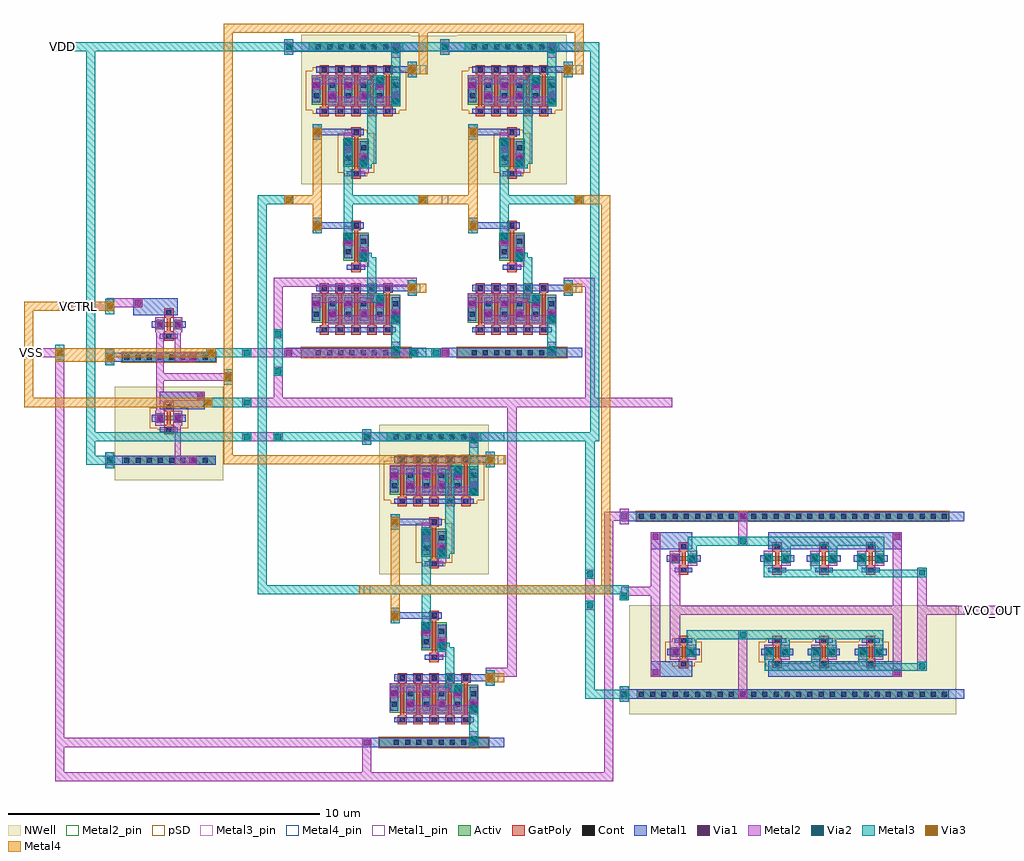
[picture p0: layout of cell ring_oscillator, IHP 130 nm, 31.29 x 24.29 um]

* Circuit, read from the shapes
.subckt ring_oscillator VCO_OUT VCTRL VDD VSS
XM1 VSS VCTRL inverter_1/VBP VSS sg13_lv_nmos w=0.15u l=0.13u
XM2 VSS VCTRL inverter_1/dev_n_w0p9_l0p13_ng5_noguard_m1_3/D0 VSS sg13_lv_nmos w=0.9u l=0.13u m=5
XM3 inverter_1/dev_n_w0p9_l0p13_ng5_noguard_m1_3/D0 inverter_1/VIN inverter_2/VIN VSS sg13_lv_nmos w=0.9u l=0.13u
XM4 VSS VCTRL inverter_3/dev_n_w0p9_l0p13_ng5_noguard_m1_3/D0 VSS sg13_lv_nmos w=0.9u l=0.13u m=5
XM5 inverter_3/dev_n_w0p9_l0p13_ng5_noguard_m1_3/D0 inverter_3/VIN inverter_1/VIN VSS sg13_lv_nmos w=0.9u l=0.13u
XM6 VSS VCTRL inverter_2/dev_n_w0p9_l0p13_ng5_noguard_m1_3/D0 VSS sg13_lv_nmos w=0.9u l=0.13u m=5
XM7 inverter_2/dev_n_w0p9_l0p13_ng5_noguard_m1_3/D0 inverter_2/VIN inverter_3/VIN VSS sg13_lv_nmos w=0.9u l=0.13u
XM8 VSS inverter_1/VIN vco_buffer_4/dev_n_w0p15_l0p13_ng1_noguard_sdvia_4/D VSS sg13_lv_nmos w=0.15u l=0.13u
XM9 VSS vco_buffer_4/dev_n_w0p15_l0p13_ng1_noguard_sdvia_4/D VCO_OUT VSS sg13_lv_nmos w=0.15u l=0.13u m=3
XM10 VDD inverter_1/VBP inverter_1/VBP VDD sg13_lv_pmos w=0.15u l=0.13u
XM11 VDD inverter_1/VBP inverter_1/dev_p_w0p9_l0p13_ng5_noguard_m1_0/D0 VDD sg13_lv_pmos w=0.9u l=0.13u m=5
XM12 inverter_1/dev_p_w0p9_l0p13_ng5_noguard_m1_0/D0 inverter_1/VIN inverter_2/VIN VDD sg13_lv_pmos w=0.9u l=0.13u
XM13 VDD inverter_1/VBP inverter_3/dev_p_w0p9_l0p13_ng5_noguard_m1_0/D0 VDD sg13_lv_pmos w=0.9u l=0.13u m=5
XM14 inverter_3/dev_p_w0p9_l0p13_ng5_noguard_m1_0/D0 inverter_3/VIN inverter_1/VIN VDD sg13_lv_pmos w=0.9u l=0.13u
XM15 VDD inverter_1/VBP inverter_2/dev_p_w0p9_l0p13_ng5_noguard_m1_0/D0 VDD sg13_lv_pmos w=0.9u l=0.13u m=5
XM16 inverter_2/dev_p_w0p9_l0p13_ng5_noguard_m1_0/D0 inverter_2/VIN inverter_3/VIN VDD sg13_lv_pmos w=0.9u l=0.13u
XM17 VDD inverter_1/VIN vco_buffer_4/dev_n_w0p15_l0p13_ng1_noguard_sdvia_4/D VDD sg13_lv_pmos w=0.3u l=0.13u
XM18 VDD vco_buffer_4/dev_n_w0p15_l0p13_ng1_noguard_sdvia_4/D VCO_OUT VDD sg13_lv_pmos w=0.3u l=0.13u m=3
.ends

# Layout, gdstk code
import gdstk
lib = gdstk.Library(unit=1e-6, precision=1e-09)
def R(c, l, rs):  # rectangles x0, y0, x1, y1
    for r in rs: c.add(gdstk.rectangle(r[:2], r[2:], *l))
def A(c, l, x, y, w, h, nx, ny, dx, dy):  # array of equal rectangles
    R(c, l, [(x+i*dx, y+j*dy, x+i*dx+w, y+j*dy+h) for i in range(nx) for j in range(ny)])
Activ = (1, 0)
GatPoly = (5, 0)
Cont = (6, 0)
Metal1 = (8, 0)
Metal1_pin = (8, 2)
Metal2 = (10, 0)
Metal2_pin = (10, 2)
pSD = (14, 0)
Via1 = (19, 0)
Via2 = (29, 0)
Metal3 = (30, 0)
Metal3_pin = (30, 2)
NWell = (31, 0)
Via3 = (49, 0)
Metal4 = (50, 0)
Metal4_pin = (50, 2)

dev_p_w0p15_l0p13_ng1_no = lib.new_cell('dev_p_w0p15_l0p13_ng1_noguard_sdvia')
R(dev_p_w0p15_l0p13_ng1_no, Activ, [(-0.435,-0.15,-0.135,-0.075), (0.135,-0.15,0.435,-0.075), (-0.435,-0.075,0.435,0.075), (-0.435,0.075,-0.135,0.15), (0.135,0.075,0.435,0.15)])
R(dev_p_w0p15_l0p13_ng1_no, GatPoly, [(-0.15,-0.52,0.15,-0.22), (-0.065,-0.22,0.065,0.22), (-0.15,0.22,0.15,0.52)])
R(dev_p_w0p15_l0p13_ng1_no, Cont, [(-0.08,-0.45,0.08,-0.29), (-0.365,-0.08,-0.205,0.08), (0.205,-0.08,0.365,0.08), (-0.08,0.29,0.08,0.45)])
R(dev_p_w0p15_l0p13_ng1_no, Metal1, [(-0.285,-0.45,0.285,-0.29), (-0.545,-0.11,-0.135,0.11), (0.135,-0.11,0.545,0.11), (-0.285,0.29,0.285,0.45)])
R(dev_p_w0p15_l0p13_ng1_no, Metal2, [(-0.435,-0.24,-0.135,0.24), (0.135,-0.24,0.435,0.24)])
R(dev_p_w0p15_l0p13_ng1_no, pSD, [(-0.365,-0.375,0.365,-0.33), (-0.615,-0.33,0.615,0.33), (-0.365,0.33,0.365,0.375)])
R(dev_p_w0p15_l0p13_ng1_no, Via1, [(-0.38,-0.095,-0.19,0.095), (0.19,-0.095,0.38,0.095)])
R(dev_p_w0p15_l0p13_ng1_no, NWell, [(-0.745,-0.46,0.745,0.46)])
dev_p_w0p15_l0p13_ng1_no.add(gdstk.Label('D', (-0.285,0), layer=8, texttype=25))
dev_p_w0p15_l0p13_ng1_no.add(gdstk.Label('S', (0.285,0), layer=8, texttype=25))
dev_p_w0p15_l0p13_ng1_no.add(gdstk.Label('G', (0,0.37), layer=8, texttype=25))

dev_n_w0p15_l0p13_ng1_no = lib.new_cell('dev_n_w0p15_l0p13_ng1_noguard_sdvia')
R(dev_n_w0p15_l0p13_ng1_no, Activ, [(-0.435,-0.15,-0.135,-0.075), (0.135,-0.15,0.435,-0.075), (-0.435,-0.075,0.435,0.075), (-0.435,0.075,-0.135,0.15), (0.135,0.075,0.435,0.15)])
R(dev_n_w0p15_l0p13_ng1_no, GatPoly, [(-0.15,-0.52,0.15,-0.22), (-0.065,-0.22,0.065,0.22), (-0.15,0.22,0.15,0.52)])
R(dev_n_w0p15_l0p13_ng1_no, Cont, [(-0.08,-0.45,0.08,-0.29), (-0.365,-0.08,-0.205,0.08), (0.205,-0.08,0.365,0.08), (-0.08,0.29,0.08,0.45)])
R(dev_n_w0p15_l0p13_ng1_no, Metal1, [(-0.285,-0.45,0.285,-0.29), (-0.545,-0.11,-0.135,0.11), (0.135,-0.11,0.545,0.11), (-0.285,0.29,0.285,0.45)])
R(dev_n_w0p15_l0p13_ng1_no, Metal2, [(-0.435,-0.24,-0.135,0.24), (0.135,-0.24,0.435,0.24)])
R(dev_n_w0p15_l0p13_ng1_no, Via1, [(-0.38,-0.095,-0.19,0.095), (0.19,-0.095,0.38,0.095)])
dev_n_w0p15_l0p13_ng1_no.add(gdstk.Label('D', (-0.285,0), layer=8, texttype=25))
dev_n_w0p15_l0p13_ng1_no.add(gdstk.Label('S', (0.285,0), layer=8, texttype=25))
dev_n_w0p15_l0p13_ng1_no.add(gdstk.Label('G', (0,0.37), layer=8, texttype=25))

vco_bias = lib.new_cell('vco_bias')
R(vco_bias, Activ, [(0,0.5,3,0.8), (0,3.8,3,4.1)])
A(vco_bias, Cont, 0.07, 0.57, 0.16, 0.16, 8, 2, 0.36, 3.3)
R(vco_bias, Metal1, [(-0.5,0.5,3,0.8), (1.215,2.29,2.645,2.845), (-0.5,3.8,3,4.1), (0.355,5.29,1.785,5.845)])
R(vco_bias, Metal1_pin, [(-0.5,0.5,-0.3,0.8), (-0.5,3.8,-0.3,4.1)])
R(vco_bias, Metal2, [(1.685,0.505,2.395,0.795), (1.685,0.795,1.885,2.15), (1.1,1.85,1.34,2.555), (1.1,2.555,2.645,2.845), (1.1,2.845,1.34,3.2), (1.1,3.2,3.5,3.44), (1.1,3.44,1.34,5.15), (1.685,3.805,2.395,4.095), (1.685,4.095,1.885,5.15), (-0.5,5.555,0.645,5.845)])
R(vco_bias, Metal2_pin, [(3.3,3.2,3.5,3.44), (-0.5,5.58,-0.3,5.82)])
R(vco_bias, pSD, [(-0.03,3.77,3.03,4.13)])
R(vco_bias, Via1, [(2.155,0.555,2.345,0.745), (2.405,2.605,2.595,2.795), (2.155,3.855,2.345,4.045), (0.405,5.605,0.595,5.795)])
R(vco_bias, NWell, [(-0.24,0,3.24,3)])
vco_bias.add(gdstk.Reference(dev_p_w0p15_l0p13_ng1_no, (1.5,2)))
vco_bias.add(gdstk.Reference(dev_n_w0p15_l0p13_ng1_no, (1.5,5)))
vco_bias.add(gdstk.Label('VCTRL', (-0.4,5.7), layer=10, texttype=25))
vco_bias.add(gdstk.Label('VBP', (3.4,3.32), layer=10, texttype=25))
vco_bias.add(gdstk.Label('VDD', (-0.4,0.65), layer=8, texttype=25))
vco_bias.add(gdstk.Label('VSS', (-0.4,3.95), layer=8, texttype=25))

dev_p_w0p9_l0p13_ng5_nog = lib.new_cell('dev_p_w0p9_l0p13_ng5_noguard_m1')
R(dev_p_w0p9_l0p13_ng5_nog, Activ, [(-1.425,-0.45,1.425,0.45)])
A(dev_p_w0p9_l0p13_ng5_nog, GatPoly, -1.17, -0.82, 0.3, 0.3, 5, 2, 0.51, 1.34)
A(dev_p_w0p9_l0p13_ng5_nog, GatPoly, -1.085, -0.52, 0.13, 1.04, 5, 1, 0.51, 0)
A(dev_p_w0p9_l0p13_ng5_nog, Cont, -1.1, -0.75, 0.16, 0.16, 5, 2, 0.51, 1.34)
A(dev_p_w0p9_l0p13_ng5_nog, Cont, -1.355, -0.25, 0.16, 0.16, 6, 2, 0.51, 0.34)
A(dev_p_w0p9_l0p13_ng5_nog, Metal1, -1.405, -0.38, 0.26, 0.76, 6, 1, 0.51, 0)
R(dev_p_w0p9_l0p13_ng5_nog, Metal1, [(-1.275,-0.75,1.275,-0.59), (-1.275,0.59,1.275,0.75)])
R(dev_p_w0p9_l0p13_ng5_nog, pSD, [(-1.385,-0.75,1.385,-0.63), (-1.605,-0.63,1.605,0.63), (-1.385,0.63,1.385,0.75)])
R(dev_p_w0p9_l0p13_ng5_nog, NWell, [(-1.735,-0.76,1.735,0.76)])
dev_p_w0p9_l0p13_ng5_nog.add(gdstk.Label('D0', (-1.275,0), layer=8, texttype=25))
dev_p_w0p9_l0p13_ng5_nog.add(gdstk.Label('G', (1.02,0.67), layer=8, texttype=25))
dev_p_w0p9_l0p13_ng5_nog.add(gdstk.Label('G', (0.51,0.67), layer=8, texttype=25))
dev_p_w0p9_l0p13_ng5_nog.add(gdstk.Label('G', (0,0.67), layer=8, texttype=25))
dev_p_w0p9_l0p13_ng5_nog.add(gdstk.Label('G', (-0.51,0.67), layer=8, texttype=25))
dev_p_w0p9_l0p13_ng5_nog.add(gdstk.Label('G', (-1.02,0.67), layer=8, texttype=25))
dev_p_w0p9_l0p13_ng5_nog.add(gdstk.Label('S1', (-0.765,0), layer=8, texttype=25))
dev_p_w0p9_l0p13_ng5_nog.add(gdstk.Label('D2', (-0.255,0), layer=8, texttype=25))
dev_p_w0p9_l0p13_ng5_nog.add(gdstk.Label('S3', (0.255,0), layer=8, texttype=25))
dev_p_w0p9_l0p13_ng5_nog.add(gdstk.Label('D4', (0.765,0), layer=8, texttype=25))
dev_p_w0p9_l0p13_ng5_nog.add(gdstk.Label('S4', (1.275,0), layer=8, texttype=25))

dev_p_w0p9_l0p13_ng1_nog = lib.new_cell('dev_p_w0p9_l0p13_ng1_noguard_m1')
R(dev_p_w0p9_l0p13_ng1_nog, Activ, [(-0.405,-0.45,0.405,0.45)])
R(dev_p_w0p9_l0p13_ng1_nog, GatPoly, [(-0.15,-0.82,0.15,-0.52), (-0.065,-0.52,0.065,0.52), (-0.15,0.52,0.15,0.82)])
R(dev_p_w0p9_l0p13_ng1_nog, Cont, [(-0.08,-0.75,0.08,-0.59), (-0.335,-0.25,-0.175,-0.09), (0.175,-0.25,0.335,-0.09), (-0.335,0.09,-0.175,0.25), (0.175,0.09,0.335,0.25), (-0.08,0.59,0.08,0.75)])
R(dev_p_w0p9_l0p13_ng1_nog, Metal1, [(-0.255,-0.75,0.255,-0.59), (-0.385,-0.38,-0.125,0.38), (0.125,-0.38,0.385,0.38), (-0.255,0.59,0.255,0.75)])
R(dev_p_w0p9_l0p13_ng1_nog, pSD, [(-0.365,-0.75,0.365,-0.63), (-0.585,-0.63,0.585,0.63), (-0.365,0.63,0.365,0.75)])
R(dev_p_w0p9_l0p13_ng1_nog, NWell, [(-0.715,-0.76,0.715,0.76)])
dev_p_w0p9_l0p13_ng1_nog.add(gdstk.Label('D', (-0.255,0), layer=8, texttype=25))
dev_p_w0p9_l0p13_ng1_nog.add(gdstk.Label('S', (0.255,0), layer=8, texttype=25))
dev_p_w0p9_l0p13_ng1_nog.add(gdstk.Label('G', (0,0.67), layer=8, texttype=25))

dev_n_w0p9_l0p13_ng1_nog = lib.new_cell('dev_n_w0p9_l0p13_ng1_noguard_m1')
R(dev_n_w0p9_l0p13_ng1_nog, Activ, [(-0.405,-0.45,0.405,0.45)])
R(dev_n_w0p9_l0p13_ng1_nog, GatPoly, [(-0.15,-0.82,0.15,-0.52), (-0.065,-0.52,0.065,0.52), (-0.15,0.52,0.15,0.82)])
R(dev_n_w0p9_l0p13_ng1_nog, Cont, [(-0.08,-0.75,0.08,-0.59), (-0.335,-0.25,-0.175,-0.09), (0.175,-0.25,0.335,-0.09), (-0.335,0.09,-0.175,0.25), (0.175,0.09,0.335,0.25), (-0.08,0.59,0.08,0.75)])
R(dev_n_w0p9_l0p13_ng1_nog, Metal1, [(-0.255,-0.75,0.255,-0.59), (-0.385,-0.38,-0.125,0.38), (0.125,-0.38,0.385,0.38), (-0.255,0.59,0.255,0.75)])
dev_n_w0p9_l0p13_ng1_nog.add(gdstk.Label('D', (-0.255,0), layer=8, texttype=25))
dev_n_w0p9_l0p13_ng1_nog.add(gdstk.Label('S', (0.255,0), layer=8, texttype=25))
dev_n_w0p9_l0p13_ng1_nog.add(gdstk.Label('G', (0,0.67), layer=8, texttype=25))

dev_n_w0p9_l0p13_ng5_nog = lib.new_cell('dev_n_w0p9_l0p13_ng5_noguard_m1')
R(dev_n_w0p9_l0p13_ng5_nog, Activ, [(-1.425,-0.45,1.425,0.45)])
A(dev_n_w0p9_l0p13_ng5_nog, GatPoly, -1.17, -0.82, 0.3, 0.3, 5, 2, 0.51, 1.34)
A(dev_n_w0p9_l0p13_ng5_nog, GatPoly, -1.085, -0.52, 0.13, 1.04, 5, 1, 0.51, 0)
A(dev_n_w0p9_l0p13_ng5_nog, Cont, -1.1, -0.75, 0.16, 0.16, 5, 2, 0.51, 1.34)
A(dev_n_w0p9_l0p13_ng5_nog, Cont, -1.355, -0.25, 0.16, 0.16, 6, 2, 0.51, 0.34)
A(dev_n_w0p9_l0p13_ng5_nog, Metal1, -1.405, -0.38, 0.26, 0.76, 6, 1, 0.51, 0)
R(dev_n_w0p9_l0p13_ng5_nog, Metal1, [(-1.275,-0.75,1.275,-0.59), (-1.275,0.59,1.275,0.75)])
dev_n_w0p9_l0p13_ng5_nog.add(gdstk.Label('D0', (-1.275,0), layer=8, texttype=25))
dev_n_w0p9_l0p13_ng5_nog.add(gdstk.Label('G', (1.02,0.67), layer=8, texttype=25))
dev_n_w0p9_l0p13_ng5_nog.add(gdstk.Label('G', (0.51,0.67), layer=8, texttype=25))
dev_n_w0p9_l0p13_ng5_nog.add(gdstk.Label('G', (0,0.67), layer=8, texttype=25))
dev_n_w0p9_l0p13_ng5_nog.add(gdstk.Label('G', (-0.51,0.67), layer=8, texttype=25))
dev_n_w0p9_l0p13_ng5_nog.add(gdstk.Label('G', (-1.02,0.67), layer=8, texttype=25))
dev_n_w0p9_l0p13_ng5_nog.add(gdstk.Label('S1', (-0.765,0), layer=8, texttype=25))
dev_n_w0p9_l0p13_ng5_nog.add(gdstk.Label('D2', (-0.255,0), layer=8, texttype=25))
dev_n_w0p9_l0p13_ng5_nog.add(gdstk.Label('S3', (0.255,0), layer=8, texttype=25))
dev_n_w0p9_l0p13_ng5_nog.add(gdstk.Label('D4', (0.765,0), layer=8, texttype=25))
dev_n_w0p9_l0p13_ng5_nog.add(gdstk.Label('S4', (1.275,0), layer=8, texttype=25))

inverter = lib.new_cell('inverter')
R(inverter, Activ, [(-1.75,-3.55,1.75,-3.25), (-1.51,6.25,1.51,6.55)])
A(inverter, Cont, -1.29, -3.48, 0.16, 0.16, 8, 2, 0.36, 9.8)
A(inverter, Metal1, -0.865, -2.275, 0.2, 0.2, 3, 2, 1.02, 7)
A(inverter, Metal1, -1.375, -1.925, 0.2, 0.2, 3, 2, 1.02, 7)
R(inverter, Metal1, [(-2.25,-3.55,2.25,-3.25), (1.655,-1.475,1.945,-1.43), (-1.275,-1.43,1.945,-1.22), (1.655,-1.22,1.945,-1.185), (-0.3,-0.75,0.3,-0.59), (0.155,-0.275,0.355,-0.075), (-0.355,0.075,-0.155,0.275), (-1.395,0.525,-1.105,0.57), (-1.395,0.57,0.255,0.78), (-1.395,0.78,-1.105,0.815), (-0.3,2.25,0.3,2.41), (0.155,2.725,0.355,2.925), (-0.355,3.075,-0.155,3.275), (-1.395,3.525,-1.105,3.57), (-1.395,3.57,0.255,3.78), (-1.395,3.78,-1.105,3.815), (1.655,5.525,1.945,5.57), (-1.275,5.57,1.945,5.78), (1.655,5.78,1.945,5.815), (-2.25,6.25,2.25,6.55)])
R(inverter, Metal1_pin, [(-2.25,-3.55,-2.05,-3.25), (-2.25,6.25,-2.05,6.55)])
A(inverter, Metal2, -0.91, -2.205, 0.29, 0.175, 3, 2, 1.02, 7)
A(inverter, Metal2, -1.42, -1.97, 0.29, 0.175, 3, 2, 1.02, 7)
R(inverter, Metal2, [(1.13,-3.545,1.42,-3.045), (-0.91,-2.495,1.42,-2.205), (-1.42,-1.795,0.91,-1.505), (1.655,-1.58,1.945,-1.08), (0.11,-0.65,0.4,-0.03), (-0.4,0.03,-0.11,0.65), (-1.395,0.42,-1.105,0.92), (0.11,2.35,0.4,2.97), (-0.4,3.03,-0.11,3.65), (-1.395,3.42,-1.105,3.92), (-0.91,4.505,1.42,4.795), (-1.42,5.205,0.91,5.495), (1.655,5.42,1.945,5.92), (1.13,6.045,1.42,6.545)])
R(inverter, pSD, [(-1.78,-3.58,1.78,-3.22)])
A(inverter, Via1, -0.86, -2.27, 0.19, 0.19, 3, 2, 1.02, 7)
A(inverter, Via1, -1.37, -1.92, 0.19, 0.19, 3, 2, 1.02, 7)
R(inverter, Via1, [(1.18,-3.495,1.37,-3.305), (1.705,-1.425,1.895,-1.235), (0.16,-0.27,0.35,-0.08), (-0.35,0.08,-0.16,0.27), (-1.345,0.575,-1.155,0.765), (0.16,2.73,0.35,2.92), (-0.35,3.08,-0.16,3.27), (-1.345,3.575,-1.155,3.765), (1.705,5.575,1.895,5.765), (1.18,6.305,1.37,6.495)])
R(inverter, Via2, [(1.18,-3.39,1.37,-3.2), (1.18,-2.445,1.37,-2.255), (0.67,-1.745,0.86,-1.555), (1.705,-1.425,1.895,-1.235), (0.16,-0.445,0.35,-0.255), (-0.35,0.255,-0.16,0.445), (-1.345,0.575,-1.155,0.765), (0.16,2.555,0.35,2.745), (-0.35,3.255,-0.16,3.445), (-1.345,3.575,-1.155,3.765), (1.18,4.555,1.37,4.745), (0.67,5.255,0.86,5.445), (1.705,5.575,1.895,5.765), (1.18,6.2,1.37,6.39)])
R(inverter, Metal3, [(1.13,-3.545,1.42,-2.205), (0.5,-1.795,0.91,-1.65), (0.355,-1.65,0.91,-1.505), (1.655,-1.58,1.945,-1.08), (0.355,-1.505,0.645,-0.495), (0.11,-0.495,0.645,-0.35), (0.11,-0.35,0.5,-0.205), (-0.4,0.205,-0.11,1.355), (-1.395,0.42,-1.105,0.92), (-0.4,1.355,2.25,1.645), (-0.4,1.645,-0.11,3.495), (0.11,2.505,0.5,2.65), (0.11,2.65,0.645,2.795), (0.355,2.795,0.645,5.205), (-1.395,3.42,-1.105,3.92), (1.13,4.505,1.42,6.545), (0.355,5.205,0.91,5.35), (0.5,5.35,0.91,5.495), (1.655,5.42,1.945,5.92)])
R(inverter, Metal3_pin, [(2.05,1.355,2.25,1.645)])
R(inverter, NWell, [(-1.75,2,1.75,6.79)])
R(inverter, Via3, [(1.705,-1.425,1.895,-1.235), (-1.345,0.575,-1.155,0.765), (-1.345,3.575,-1.155,3.765), (1.705,5.575,1.895,5.765)])
R(inverter, Metal4, [(1.655,-1.475,2.25,-1.185), (-1.395,0.525,-1.105,1.355), (-2.25,1.355,-1.105,1.645), (-1.395,1.645,-1.105,3.815), (1.655,5.525,2.25,5.815)])
R(inverter, Metal4_pin, [(2.05,-1.475,2.25,-1.185), (-2.25,1.355,-2.05,1.645), (2.05,5.525,2.25,5.815)])
inverter.add(gdstk.Reference(dev_p_w0p9_l0p13_ng5_nog, (0,5)))
inverter.add(gdstk.Reference(dev_p_w0p9_l0p13_ng1_nog, (0,3)))
inverter.add(gdstk.Reference(dev_n_w0p9_l0p13_ng1_nog, (0,0)))
inverter.add(gdstk.Reference(dev_n_w0p9_l0p13_ng5_nog, (0,-2)))
inverter.add(gdstk.Label('VIN', (-2.15,1.5), layer=50, texttype=25))
inverter.add(gdstk.Label('VOUT', (2.15,1.5), layer=30, texttype=25))
inverter.add(gdstk.Label('VBP', (2.15,5.67), layer=50, texttype=25))
inverter.add(gdstk.Label('VDD', (-2.15,6.4), layer=8, texttype=25))
inverter.add(gdstk.Label('VBN', (2.15,-1.33), layer=50, texttype=25))
inverter.add(gdstk.Label('VSS', (-2.15,-3.4), layer=8, texttype=25))

dev_p_w0p3_l0p13_ng1_nog = lib.new_cell('dev_p_w0p3_l0p13_ng1_noguard_sdvia')
R(dev_p_w0p3_l0p13_ng1_nog, Activ, [(-0.405,-0.15,0.405,0.15)])
R(dev_p_w0p3_l0p13_ng1_nog, GatPoly, [(-0.15,-0.52,0.15,-0.22), (-0.065,-0.22,0.065,0.22), (-0.15,0.22,0.15,0.52)])
R(dev_p_w0p3_l0p13_ng1_nog, Cont, [(-0.08,-0.45,0.08,-0.29), (-0.335,-0.08,-0.175,0.08), (0.175,-0.08,0.335,0.08), (-0.08,0.29,0.08,0.45)])
R(dev_p_w0p3_l0p13_ng1_nog, Metal1, [(-0.255,-0.45,0.255,-0.29), (-0.515,-0.11,-0.105,0.11), (0.105,-0.11,0.515,0.11), (-0.255,0.29,0.255,0.45)])
R(dev_p_w0p3_l0p13_ng1_nog, Metal2, [(-0.405,-0.24,-0.105,0.24), (0.105,-0.24,0.405,0.24)])
R(dev_p_w0p3_l0p13_ng1_nog, pSD, [(-0.365,-0.45,0.365,-0.33), (-0.585,-0.33,0.585,0.33), (-0.365,0.33,0.365,0.45)])
R(dev_p_w0p3_l0p13_ng1_nog, Via1, [(-0.35,-0.095,-0.16,0.095), (0.16,-0.095,0.35,0.095)])
R(dev_p_w0p3_l0p13_ng1_nog, NWell, [(-0.715,-0.46,0.715,0.46)])
dev_p_w0p3_l0p13_ng1_nog.add(gdstk.Label('D', (-0.255,0), layer=8, texttype=25))
dev_p_w0p3_l0p13_ng1_nog.add(gdstk.Label('S', (0.255,0), layer=8, texttype=25))
dev_p_w0p3_l0p13_ng1_nog.add(gdstk.Label('G', (0,0.37), layer=8, texttype=25))

vco_buffer = lib.new_cell('vco_buffer')
R(vco_buffer, Activ, [(0,0.5,10,0.8), (0,6.2,10,6.5)])
A(vco_buffer, Cont, 0.07, 0.57, 0.16, 0.16, 27, 2, 0.36, 5.7)
R(vco_buffer, Cont, [(9.77,0.57,9.93,0.73), (9.77,6.27,9.93,6.43)])
A(vco_buffer, Metal1, 4.215, 2.29, 0.57, 0.16, 3, 1, 1.5, 0)
R(vco_buffer, Metal1, [(-0.5,0.5,10.5,0.8), (0.455,1.205,1.785,1.71), (4.215,1.205,8.495,1.71), (1.215,2.29,1.785,2.45), (0.455,5.29,1.785,5.845), (4.215,5.29,8.495,5.845), (-0.5,6.2,10.5,6.5)])
R(vco_buffer, Metal1_pin, [(-0.5,0.5,-0.3,0.8), (-0.5,6.2,-0.3,6.5)])
R(vco_buffer, Metal2, [(3.255,0.505,3.545,2.695), (0.455,1.205,0.745,3.8), (8.205,1.205,8.495,3.2), (9,1.405,9.29,3.2), (1.065,1.76,1.395,3.2), (1.655,1.9,1.855,2.1), (4.145,1.9,4.345,2.1), (4.655,1.9,4.855,2.1), (5.645,1.9,5.845,2.1), (6.155,1.9,6.355,2.1), (7.145,1.9,7.345,2.1), (7.655,1.9,7.855,2.1), (1.065,3.2,8.495,3.49), (9,3.2,10.5,3.49), (1.065,3.49,1.395,5.24), (8.205,3.49,8.495,5.845), (9,3.49,9.29,4.695), (-0.5,3.8,0.745,4.09), (0.455,4.09,0.745,5.845), (1.685,4.9,1.885,5.1), (4.115,4.9,4.315,5.1), (4.685,4.9,4.885,5.1), (5.615,4.9,5.815,5.1), (6.185,4.9,6.385,5.1), (7.115,4.9,7.315,5.1), (7.685,4.9,7.885,5.1), (3.255,5.405,3.545,6.495)])
R(vco_buffer, Metal2_pin, [(10.3,3.2,10.5,3.49), (-0.5,3.8,-0.3,4.09)])
R(vco_buffer, pSD, [(5.085,1.67,5.415,2.33), (6.585,1.67,6.915,2.33), (-0.03,6.17,10.03,6.53)])
R(vco_buffer, Via1, [(3.305,0.555,3.495,0.745), (0.505,1.255,0.695,1.445), (8.255,1.255,8.445,1.445), (0.505,5.605,0.695,5.795), (8.255,5.605,8.445,5.795), (3.305,6.255,3.495,6.445)])
R(vco_buffer, Via2, [(9.05,1.455,9.24,1.645), (1.66,1.905,1.85,2.095), (4.15,1.905,4.34,2.095), (4.66,1.905,4.85,2.095), (5.65,1.905,5.84,2.095), (6.16,1.905,6.35,2.095), (7.15,1.905,7.34,2.095), (7.66,1.905,7.85,2.095), (3.305,2.455,3.495,2.645), (9.05,4.455,9.24,4.645), (1.69,4.905,1.88,5.095), (4.12,4.905,4.31,5.095), (4.69,4.905,4.88,5.095), (5.62,4.905,5.81,5.095), (6.19,4.905,6.38,5.095), (7.12,4.905,7.31,5.095), (7.69,4.905,7.88,5.095), (3.305,5.455,3.495,5.645)])
A(vco_buffer, Metal3, 4.1, 1.645, 0.29, 0.5, 3, 1, 1.5, 0)
A(vco_buffer, Metal3, 4.61, 1.855, 0.29, 0.555, 3, 1, 1.5, 0)
A(vco_buffer, Metal3, 4.07, 4.645, 0.29, 0.5, 3, 1, 1.5, 0)
A(vco_buffer, Metal3, 4.64, 4.855, 0.29, 0.555, 3, 1, 1.5, 0)
R(vco_buffer, Metal3, [(4.1,1.4,9.29,1.645), (9,1.645,9.29,1.695), (1.61,1.855,1.9,2.41), (1.61,2.41,7.9,2.7), (4.07,4.4,9.29,4.645), (9,4.645,9.29,4.695), (1.64,4.855,1.93,5.41), (1.64,5.41,7.93,5.7)])
R(vco_buffer, NWell, [(-0.24,0,10.24,3.5)])
vco_buffer.add(gdstk.Reference(dev_p_w0p3_l0p13_ng1_nog, (1.5,2)))
vco_buffer.add(gdstk.Reference(dev_p_w0p3_l0p13_ng1_nog, (4.5,2)))
vco_buffer.add(gdstk.Reference(dev_p_w0p3_l0p13_ng1_nog, (6,2)))
vco_buffer.add(gdstk.Reference(dev_p_w0p3_l0p13_ng1_nog, (7.5,2)))
vco_buffer.add(gdstk.Reference(dev_n_w0p15_l0p13_ng1_no, (1.5,5)))
vco_buffer.add(gdstk.Reference(dev_n_w0p15_l0p13_ng1_no, (4.5,5)))
vco_buffer.add(gdstk.Reference(dev_n_w0p15_l0p13_ng1_no, (6,5)))
vco_buffer.add(gdstk.Reference(dev_n_w0p15_l0p13_ng1_no, (7.5,5)))
vco_buffer.add(gdstk.Label('VIN', (-0.4,3.945), layer=10, texttype=25))
vco_buffer.add(gdstk.Label('VOUT', (10.4,3.345), layer=10, texttype=25))
vco_buffer.add(gdstk.Label('VDD', (-0.4,0.65), layer=8, texttype=25))
vco_buffer.add(gdstk.Label('VSS', (-0.4,6.35), layer=8, texttype=25))

ring_oscillator = lib.new_cell('ring_oscillator')
R(ring_oscillator, Metal1, [(0.205,-8.545,0.495,-8.255), (8.455,-6.995,8.745,-6.705), (8.455,-1.295,8.745,-1.005), (-8.045,0.505,-7.755,0.795), (0.205,1.255,0.495,1.545), (-8.045,3.805,-7.755,4.095), (-2.295,3.955,-2.005,4.245), (2.705,3.955,2.995,4.245), (-2.295,13.755,-2.005,14.045), (2.705,13.755,2.995,14.045)])
R(ring_oscillator, Metal2, [(-9.645,-9.645,8.245,-9.355), (-9.645,-9.355,-9.355,-8.545), (0.205,-9.355,0.495,-8.545), (7.955,-9.355,8.245,-1.295), (-9.645,-8.545,0.495,-8.255), (-9.645,-8.255,-9.355,3.955), (8.455,-7.1,8.745,-6.6), (4.155,-6.295,5.145,-6.005), (4.855,-6.005,5.145,2.355), (19.355,-4.305,20.645,-4.015), (7.355,-4.145,7.645,-2.855), (8.455,-3.845,8.745,-3.555), (8.455,-1.4,8.745,-1.295), (7.955,-1.295,8.745,-1.005), (8.455,-1.005,8.745,-0.9), (-8.045,0.4,-7.755,0.9), (0.205,1.15,0.495,1.65), (-3.645,1.255,-2.355,1.545), (-3.645,2.355,10.145,2.645), (-2.645,2.645,-2.355,3.645), (7.355,2.645,7.645,6.205), (-4.245,3.175,-3.955,3.465), (-8.045,3.7,-7.755,4.2), (-10.645,3.955,-9.355,4.245), (-3.645,3.955,1.995,4.245), (2.405,3.955,2.995,4.245), (-2.645,4.555,-2.355,6.205), (-9.145,5.435,-7.755,5.725), (-2.645,6.205,1.945,6.495), (6.655,6.205,7.645,6.495), (-2.295,13.65,-2.005,14.15), (2.705,13.65,2.995,14.15)])
R(ring_oscillator, Metal2_pin, [(20.3,-4.305,20.5,-4.015), (-10.5,3.955,-10.3,4.245), (-9,5.435,-8.8,5.725)])
R(ring_oscillator, Via1, [(0.255,-8.495,0.445,-8.305), (8.505,-6.945,8.695,-6.755), (8.505,-1.245,8.695,-1.055), (-7.995,0.555,-7.805,0.745), (0.255,1.305,0.445,1.495), (-7.995,3.855,-7.805,4.045), (-2.245,4.005,-2.055,4.195), (2.755,4.005,2.945,4.195), (-2.245,13.805,-2.055,13.995), (2.755,13.805,2.945,13.995)])
R(ring_oscillator, Via2, [(8.505,-6.945,8.695,-6.755), (7.405,-4.095,7.595,-3.905), (8.505,-3.795,8.695,-3.605), (7.405,-3.095,7.595,-2.905), (-7.995,0.555,-7.805,0.745), (-3.595,1.305,-3.405,1.495), (-2.595,1.305,-2.405,1.495), (0.255,1.305,0.445,1.495), (-3.595,2.405,-3.405,2.595), (-4.195,3.225,-4.005,3.415), (-2.595,3.405,-2.405,3.595), (-7.995,3.855,-7.805,4.045), (-9.595,4.005,-9.405,4.195), (-3.595,4.005,-3.405,4.195), (1.755,4.005,1.945,4.195), (2.455,4.005,2.645,4.195), (-2.595,4.605,-2.405,4.795), (-7.995,5.485,-7.805,5.675), (-2.245,13.805,-2.055,13.995), (2.755,13.805,2.945,13.995)])
R(ring_oscillator, Metal3, [(8.455,-7.1,8.745,-6.995), (7.355,-6.995,8.745,-6.705), (7.355,-6.705,7.645,-3.855), (8.455,-6.705,8.745,-6.6), (8.455,-3.845,8.745,-3.645), (-3.145,-3.645,8.745,-3.355), (-3.145,-3.355,-2.855,8.855), (7.355,-3.145,7.645,1.255), (-8.045,0.4,-7.755,0.505), (-8.645,0.505,-7.755,0.795), (-8.645,0.795,-8.355,1.255), (-8.045,0.795,-7.755,0.9), (0.205,1.15,0.495,1.255), (-8.645,1.255,-3.355,1.545), (-2.645,1.255,7.795,1.545), (-8.645,1.545,-8.355,13.755), (0.205,1.545,0.495,1.65), (7.505,1.545,7.795,13.755), (-4.895,2.355,-3.355,2.645), (-4.245,3.07,-3.955,3.57), (-2.645,3.355,-2.355,4.845), (-8.045,3.7,-7.755,4.2), (-9.645,3.85,-9.355,4.35), (-4.795,3.955,-3.355,4.245), (1.705,3.955,2.695,4.245), (-8.045,5.33,-7.755,5.83), (-3.145,8.855,-2.005,9.145), (2.005,8.855,2.295,9.145), (7.005,8.855,7.295,9.145), (-2.295,13.65,-2.005,13.755), (2.705,13.65,2.995,13.755), (-9.645,13.755,7.795,14.045), (-2.295,14.045,-2.005,14.15), (2.705,14.045,2.995,14.15)])
R(ring_oscillator, Metal3_pin, [(-9.5,13.755,-9.3,14.045)])
R(ring_oscillator, NWell, [(1.75,9.5,3.25,14.25)])
R(ring_oscillator, Via3, [(-4.845,2.405,-4.655,2.595), (-4.195,3.225,-4.005,3.415), (-7.995,3.855,-7.805,4.045), (-9.595,4.005,-9.405,4.195), (-4.745,4.005,-4.555,4.195), (-7.995,5.485,-7.805,5.675), (-2.245,8.905,-2.055,9.095), (2.055,8.905,2.245,9.095), (7.055,8.905,7.245,9.095)])
R(ring_oscillator, Metal4, [(0.105,-3.645,8.145,-3.355), (7.855,-3.355,8.145,8.855), (-4.245,0.525,4.795,0.815), (-4.245,0.815,-3.955,14.355), (-10.645,2.355,-4.605,2.645), (-10.645,2.645,-10.355,5.435), (-9.645,3.805,-7.755,3.955), (-9.645,3.955,-4.505,4.245), (-10.645,5.435,-7.755,5.725), (-2.295,8.855,-2.005,9.145), (2.005,8.855,2.995,9.145), (7.005,8.855,8.145,9.145), (2.005,13.025,2.295,14.355), (7.005,13.025,7.295,14.355), (-4.245,14.355,7.295,14.645)])
ring_oscillator.add(gdstk.Reference(vco_bias, (-7.5,0)))
ring_oscillator.add(gdstk.Reference(inverter, (0,7.5)))
ring_oscillator.add(gdstk.Reference(inverter, (5,7.5)))
ring_oscillator.add(gdstk.Reference(inverter, (2.5,-5)))
ring_oscillator.add(gdstk.Reference(vco_buffer, (9,-7.5)))
ring_oscillator.add(gdstk.Label('VCTRL', (-8.9,5.58), layer=10, texttype=25))
ring_oscillator.add(gdstk.Label('VCO_OUT', (20.4,-4.16), layer=10, texttype=25))
ring_oscillator.add(gdstk.Label('VDD', (-9.4,13.9), layer=30, texttype=25))
ring_oscillator.add(gdstk.Label('VSS', (-10.4,4.1), layer=10, texttype=25))

lib.write_gds('ring_oscillator.gds')
